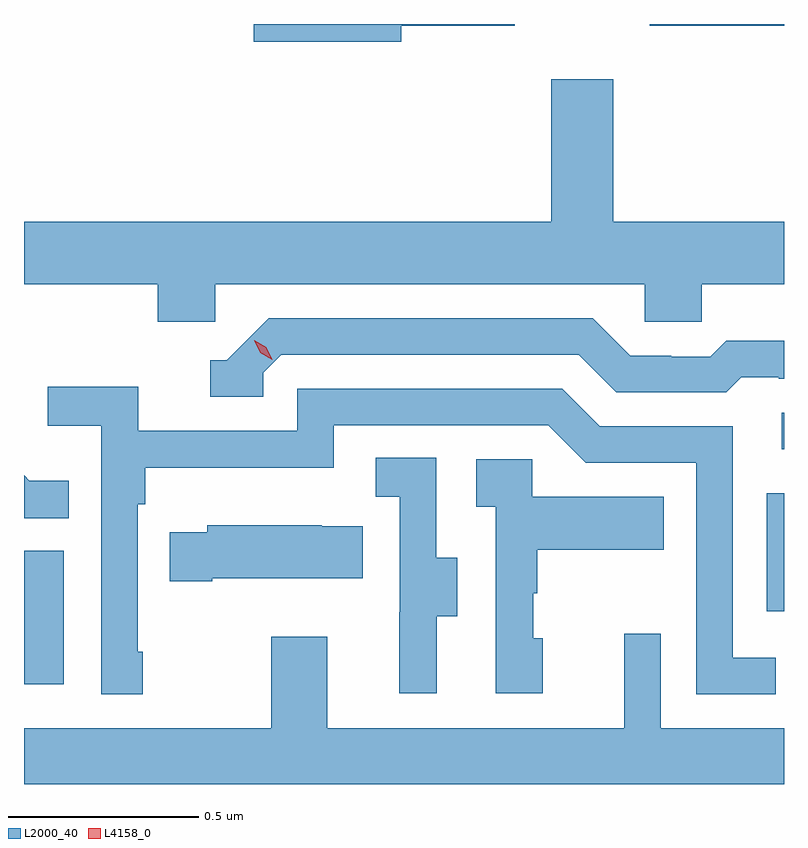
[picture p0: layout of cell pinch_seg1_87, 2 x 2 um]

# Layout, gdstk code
import gdstk
lib = gdstk.Library(unit=1e-6, precision=1e-09)
def R(c, l, rs):  # rectangles x0, y0, x1, y1
    for r in rs: c.add(gdstk.rectangle(r[:2], r[2:], *l))
def P(c, l, *ps):  # polygons
    for p in ps: c.add(gdstk.Polygon(p, *l))
L2000_40 = (2000, 40)
L4158_0 = (4158, 0)

pinch_seg1_87 = lib.new_cell('pinch_seg1_87')
R(pinch_seg1_87, L2000_40, [(1074.709,579.984,1074.814,580.335), (1076.664,580.176,1076.709,580.486), (1076.703,580.602,1076.709,580.698), (1076.356,581.716,1076.709,581.721)])
P(pinch_seg1_87, L2000_40, [(1075.702,581.716),(1076,581.716),(1076,581.721),(1075.314,581.721),(1075.314,581.674),(1075.702,581.674)],
  [(1075.212,581.036),(1076.343,581.036),(1076.343,580.938),(1076.493,580.938),(1076.493,581.036),(1076.709,581.036),(1076.709,581.2),(1076.26,581.2),(1076.26,581.575),(1076.096,581.575),(1076.096,581.2),(1074.709,581.2),(1074.709,581.036),(1075.061,581.036),(1075.061,580.938),(1075.212,580.938)],
  [(1075.338,580.803),(1075.386,580.851),(1076.169,580.851),(1076.268,580.752),(1076.557,580.752),(1076.596,580.791),(1076.695,580.791),(1076.695,580.788),(1076.709,580.788),(1076.709,580.888),(1076.557,580.888),(1076.515,580.845),(1076.412,580.845),(1076.412,580.848),(1076.305,580.848),(1076.206,580.947),(1075.353,580.947),(1075.242,580.836),(1075.199,580.836),(1075.199,580.74),(1075.338,580.74)],
  [(1075.021,580.069),(1075.008,580.069),(1075.008,580.457),(1075.028,580.457),(1075.028,580.553),(1075.524,580.553),(1075.524,580.665),(1076.088,580.665),(1076.187,580.566),(1076.478,580.566),(1076.478,579.957),(1076.687,579.957),(1076.687,580.053),(1076.574,580.053),(1076.574,580.662),(1076.224,580.662),(1076.125,580.761),(1075.428,580.761),(1075.428,580.65),(1075.01,580.65),(1075.01,580.766),(1074.771,580.766),(1074.771,580.664),(1074.912,580.664),(1074.912,579.957),(1075.021,579.957)],
  [(1075.795,580.162),(1075.849,580.162),(1075.849,580.317),(1075.794,580.317),(1075.794,580.58),(1075.635,580.58),(1075.635,580.477),(1075.698,580.477),(1075.698,580.173),(1075.697,580.173),(1075.697,579.96),(1075.795,579.96)],
  [(1076.074,580.104),(1076.049,580.104),(1076.049,580.223),(1076.059,580.223),(1076.059,580.337),(1076.393,580.337),(1076.393,580.477),(1076.046,580.477),(1076.046,580.575),(1075.899,580.575),(1075.899,580.451),(1075.95,580.451),(1075.95,579.96),(1076.074,579.96)],
  [(1074.827,580.519),(1074.723,580.519),(1074.709,580.533),(1074.709,580.42),(1074.827,580.42)],
  [(1075.204,580.262),(1075.601,580.262),(1075.601,580.399),(1075.493,580.399),(1075.493,580.402),(1075.191,580.402),(1075.191,580.384),(1075.093,580.384),(1075.093,580.255),(1075.204,580.255)],
  [(1076.709,579.868),(1076.385,579.868),(1076.385,580.117),(1076.288,580.117),(1076.288,579.868),(1075.507,579.868),(1075.507,580.108),(1075.36,580.108),(1075.36,579.868),(1074.709,579.868),(1074.709,579.721),(1076.709,579.721)])
P(pinch_seg1_87, L4158_0, [(1075.362,580.837),(1075.331,580.856),(1075.315,580.889),(1075.315,580.889),(1075.315,580.889),(1075.346,580.87),(1075.362,580.837),(1075.362,580.837)])

lib.write_gds('pinch_seg1_87.gds')
